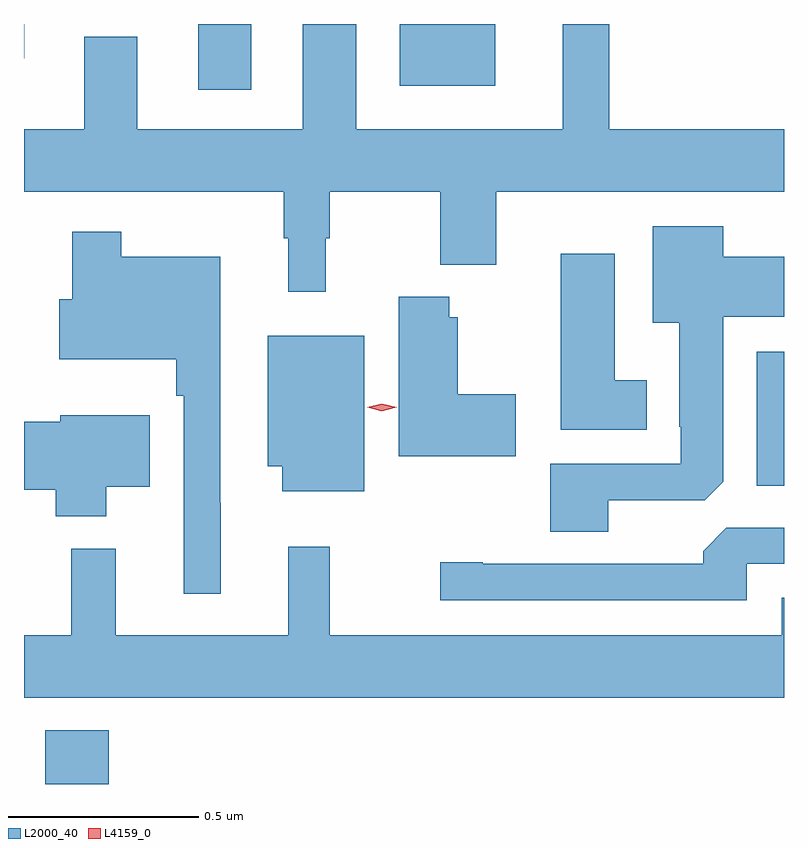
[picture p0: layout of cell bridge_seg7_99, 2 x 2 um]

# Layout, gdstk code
import gdstk
lib = gdstk.Library(unit=1e-6, precision=1e-09)
def R(c, l, rs):  # rectangles x0, y0, x1, y1
    for r in rs: c.add(gdstk.rectangle(r[:2], r[2:], *l))
def P(c, l, *ps):  # polygons
    for p in ps: c.add(gdstk.Polygon(p, *l))
L2000_40 = (2000, 40)
L4159_0 = (4159, 0)

bridge_seg7_99 = lib.new_cell('bridge_seg7_99')
R(bridge_seg7_99, L2000_40, [(1131.461,1000.389,1131.628,1000.531), (1133.333,1001.174,1133.405,1001.527), (1131.863,1002.216,1132.003,1002.389), (1132.394,1002.227,1132.645,1002.389), (1131.405,1002.299,1131.406,1002.389)])
P(bridge_seg7_99, L2000_40, [(1132.199,1001.825),(1132.21,1001.825),(1132.21,1001.948),(1132.501,1001.948),(1132.501,1001.756),(1132.648,1001.756),(1132.648,1001.948),(1133.405,1001.948),(1133.405,1002.112),(1132.945,1002.112),(1132.945,1002.389),(1132.823,1002.389),(1132.823,1002.112),(1132.279,1002.112),(1132.279,1002.389),(1132.139,1002.389),(1132.139,1002.112),(1131.703,1002.112),(1131.703,1002.355),(1131.563,1002.355),(1131.563,1002.112),(1131.405,1002.112),(1131.405,1001.948),(1132.089,1001.948),(1132.089,1001.825),(1132.1,1001.825),(1132.1,1001.685),(1132.199,1001.685)],
  [(1132.942,1001.136),(1133.196,1001.136),(1133.245,1001.185),(1133.245,1001.618),(1133.405,1001.618),(1133.405,1001.776),(1133.245,1001.776),(1133.245,1001.857),(1133.06,1001.857),(1133.06,1001.603),(1133.129,1001.603),(1133.129,1001.329),(1133.133,1001.329),(1133.133,1001.232),(1132.79,1001.232),(1132.79,1001.053),(1132.942,1001.053)],
  [(1131.923,1001.129),(1131.921,1001.129),(1131.921,1001.776),(1131.661,1001.776),(1131.661,1001.842),(1131.532,1001.842),(1131.532,1001.665),(1131.498,1001.665),(1131.498,1001.507),(1131.805,1001.507),(1131.805,1001.411),(1131.825,1001.411),(1131.825,1000.89),(1131.923,1000.89)],
  [(1133.044,1001.452),(1132.96,1001.452),(1132.96,1001.785),(1132.817,1001.785),(1132.817,1001.321),(1133.044,1001.321)],
  [(1132.699,1001.415),(1132.546,1001.415),(1132.546,1001.617),(1132.524,1001.617),(1132.524,1001.671),(1132.391,1001.671),(1132.391,1001.252),(1132.699,1001.252)],
  [(1132.3,1001.569),(1132.046,1001.569),(1132.046,1001.225),(1132.085,1001.225),(1132.085,1001.159),(1132.3,1001.159)],
  [(1131.622,1001.171),(1131.736,1001.171),(1131.736,1001.359),(1131.5,1001.359),(1131.5,1001.342),(1131.405,1001.342),(1131.405,1001.164),(1131.488,1001.164),(1131.488,1001.093),(1131.622,1001.093)],
  [(1133.307,1000.968),(1133.405,1000.968),(1133.405,1001.064),(1133.253,1001.064),(1133.192,1001.002),(1133.192,1000.968),(1132.612,1000.968),(1132.612,1000.973),(1132.5,1000.973),(1132.5,1000.872),(1133.307,1000.872)],
  [(1133.405,1000.879),(1133.399,1000.879),(1133.399,1000.78),(1132.21,1000.78),(1132.21,1001.014),(1132.1,1001.014),(1132.1,1000.78),(1131.647,1000.78),(1131.647,1001.008),(1131.529,1001.008),(1131.529,1000.78),(1131.405,1000.78),(1131.405,1000.616),(1133.405,1000.616)])
P(bridge_seg7_99, L4159_0, [(1132.347,1001.37),(1132.308,1001.38),(1132.308,1001.38),(1132.308,1001.38),(1132.347,1001.39),(1132.386,1001.381),(1132.386,1001.38),(1132.386,1001.38)])

lib.write_gds('bridge_seg7_99.gds')
